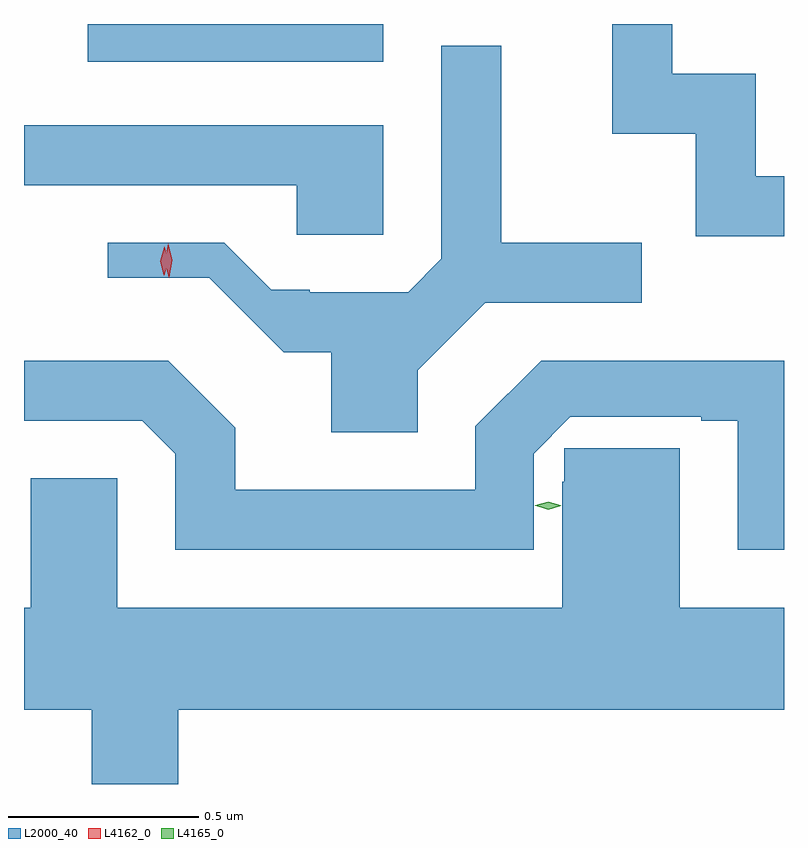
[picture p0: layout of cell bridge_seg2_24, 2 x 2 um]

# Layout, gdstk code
import gdstk
lib = gdstk.Library(unit=1e-6, precision=1e-09)
def R(c, l, rs):  # rectangles x0, y0, x1, y1
    for r in rs: c.add(gdstk.rectangle(r[:2], r[2:], *l))
def P(c, l, *ps):  # polygons
    for p in ps: c.add(gdstk.Polygon(p, *l))
L2000_40 = (2000, 40)
L4162_0 = (4162, 0)
L4165_0 = (4165, 0)

bridge_seg2_24 = lib.new_cell('bridge_seg2_24')
R(bridge_seg2_24, L2000_40, [(1668.581,1050.021,1669.359,1050.12)])
P(bridge_seg2_24, L2000_40, [(1670.413,1049.719),(1670.339,1049.719),(1670.339,1049.989),(1670.119,1049.989),(1670.119,1050.12),(1669.961,1050.12),(1669.961,1049.831),(1670.181,1049.831),(1670.181,1049.561),(1670.413,1049.561)],
  [(1669.449,1049.209),(1669.627,1049.386),(1670.038,1049.386),(1670.038,1049.544),(1669.669,1049.544),(1669.669,1050.063),(1669.511,1050.063),(1669.511,1049.502),(1669.424,1049.414),(1669.165,1049.414),(1669.165,1049.421),(1669.063,1049.421),(1668.94,1049.544),(1668.633,1049.544),(1668.633,1049.452),(1668.9,1049.452),(1669.096,1049.256),(1669.221,1049.256),(1669.221,1049.046),(1669.449,1049.046)],
  [(1669.359,1049.854),(1668.413,1049.854),(1668.413,1049.696),(1669.131,1049.696),(1669.131,1049.566),(1669.359,1049.566)],
  [(1669.754,1048.989),(1669.851,1049.086),(1670.195,1049.086),(1670.195,1049.076),(1670.291,1049.076),(1670.291,1048.736),(1670.413,1048.736),(1670.413,1049.234),(1669.774,1049.234),(1669.601,1049.062),(1669.601,1048.894),(1668.969,1048.894),(1668.969,1049.057),(1668.792,1049.234),(1668.413,1049.234),(1668.413,1049.076),(1668.724,1049.076),(1668.811,1048.989),(1668.811,1048.736),(1669.754,1048.736)],
  [(1670.413,1048.584),(1670.139,1048.584),(1670.139,1049.004),(1669.835,1049.004),(1669.835,1048.916),(1669.83,1048.916),(1669.83,1048.584),(1668.659,1048.584),(1668.659,1048.924),(1668.431,1048.924),(1668.431,1048.584),(1668.413,1048.584),(1668.413,1048.316),(1668.591,1048.316),(1668.591,1048.12),(1668.819,1048.12),(1668.819,1048.316),(1670.413,1048.316)])
P(bridge_seg2_24, L4162_0, [(1668.794,1049.452),(1668.794,1049.453),(1668.783,1049.497),(1668.792,1049.542),(1668.793,1049.543),(1668.793,1049.542),(1668.803,1049.498),(1668.795,1049.453)],
  [(1668.781,1049.459),(1668.772,1049.496),(1668.782,1049.533),(1668.782,1049.534),(1668.783,1049.533),(1668.792,1049.496),(1668.782,1049.459),(1668.782,1049.459)])
P(bridge_seg2_24, L4165_0, [(1669.792,1048.843),(1669.759,1048.852),(1669.758,1048.853),(1669.759,1048.853),(1669.792,1048.863),(1669.826,1048.853),(1669.826,1048.853),(1669.826,1048.852)],
  [(1669.792,1048.842),(1669.761,1048.852),(1669.76,1048.853),(1669.761,1048.853),(1669.792,1048.862),(1669.823,1048.852),(1669.823,1048.852),(1669.823,1048.851)])

lib.write_gds('bridge_seg2_24.gds')
